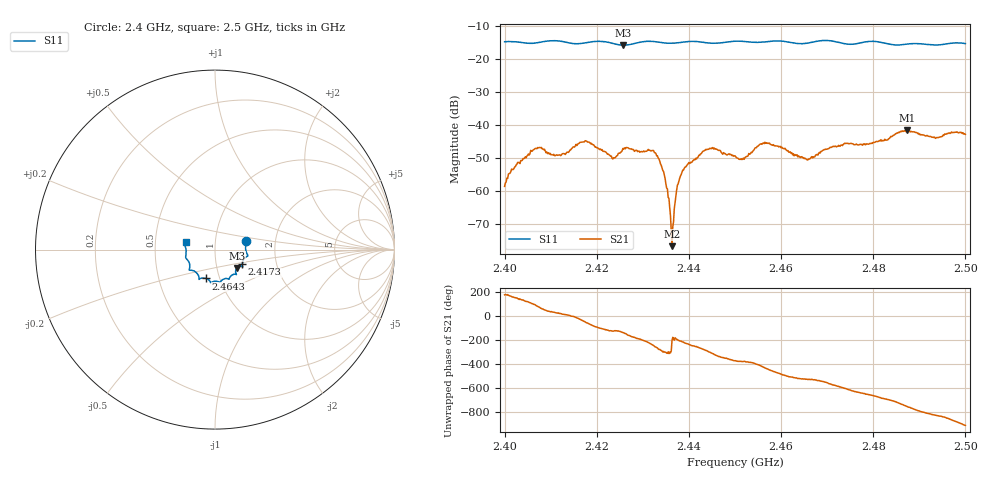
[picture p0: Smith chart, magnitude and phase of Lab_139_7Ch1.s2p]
# Hz S RI R 50
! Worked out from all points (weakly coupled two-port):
!   601 points, 2.4 GHz to 2.5 GHz, reference 50 ohm
!   highest |S21| = -41.73 dB at 2.4873 GHz (marker M1); lowest = -76.8 dB at 2.4363 GHz (marker M2)
!   lowest |S11| = -15.9 dB at 2.4257 GHz (marker M3), VSWR 1.38, Z = 62.5 - j13.1 ohm
!   |S11| at or under -10 dB: start of sweep to end of sweep
!   S12 and S22 are empty: the file has one direction only
!   S11 on the Smith chart (normalised r, x): 2.4 GHz: 1.41, +0.14; 2.4173 GHz: 1.34, -0.23; 2.4643 GHz: 0.86, -0.29; 2.5 GHz: 0.72, +0.06
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2.4e9  0.1733 0.0492  -0.00115 0.000133  0 0  0 0
2.406167e9  0.1708 0.000258  -0.000601 0.00409  0 0  0 0
2.411833e9  0.1813 -0.0364  0.00328 0.00115  0 0  0 0
2.416667e9  0.1528 -0.0741  0.00441 -0.00313  0 0  0 0
2.417333e9  0.1519 -0.0818  0.00369 -0.00408  0 0  0 0
2.4235e9  0.1419 -0.0937  -0.00182 -0.00241  0 0  0 0
2.425667e9  0.1231 -0.1017  -0.00328 -0.00287  0 0  0 0
2.431833e9  0.119 -0.1393  -0.0023 0.00328  0 0  0 0
2.433333e9  0.1134 -0.1371  0.000227 0.00312  0 0  0 0
2.434833e9  0.1035 -0.1377  0.000771 0.00131  0 0  0 0
2.436333e9  0.0919 -0.1444  -0.000132 5.75e-05  0 0  0 0
2.437833e9  0.0831 -0.1533  -0.00128 0.000582  0 0  0 0
2.4395e9  0.0796 -0.1619  -0.00154 0.00182  0 0  0 0
2.444667e9  0.0586 -0.1612  0.00242 0.00363  0 0  0 0
2.45e9  0.0287 -0.1815  0.00331 -0.000675  0 0  0 0
2.456667e9  -0.0115 -0.1792  0.00148 -0.005  0 0  0 0
2.464333e9  -0.05 -0.1608  -0.0031 -0.000988  0 0  0 0
2.466667e9  -0.0765 -0.1592  -0.00317 -0.000836  0 0  0 0
2.474e9  -0.0974 -0.1361  -0.00248 0.00455  0 0  0 0
2.483333e9  -0.1406 -0.0897  0.0055 0.00264  0 0  0 0
2.487333e9  -0.1572 -0.0536  0.00711 -0.00409  0 0  0 0
2.5e9  -0.1637 0.0425  -0.00708 0.000928  0 0  0 0
